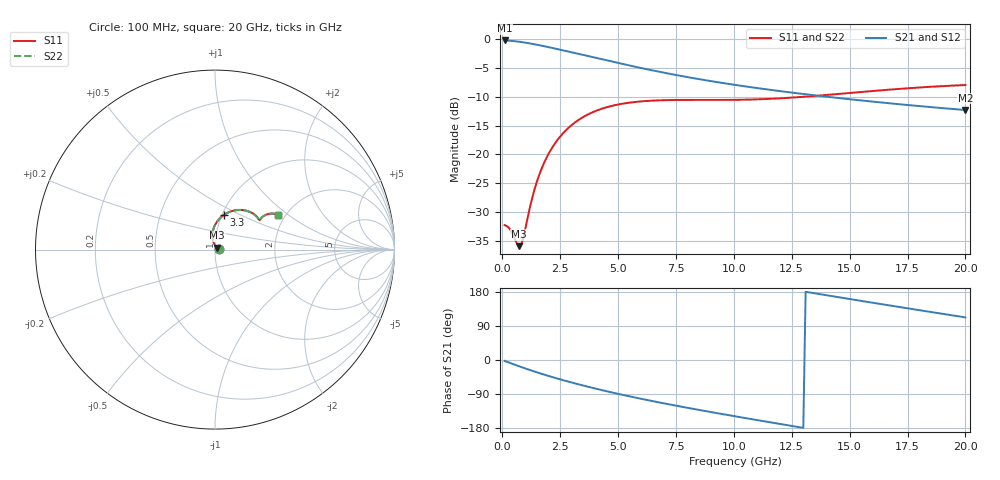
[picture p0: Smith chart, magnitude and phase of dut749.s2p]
! Touchstone file exported from HFSS 2024.1.0
!  File:  C:/UserFiles/LocalFiles/RDL_TSV_Batchsim/temp_RDL_TSV_749_1779897527.aedt
!  Generated:  12:17:47 AM May 28, 2026
!  Design:  RDL_TSV
!  Project:  temp_RDL_TSV_749_1779897527
!  Setup:  Setup1
!  Solution:  Sweep
! Variables:
!  dtsv = 13.22um
!  hbump = 3um
!  htsv = 89.63um
!  ldown = 331.86um
!  lrdl = 570.85um
!  p = 40
!  p1 = 56.65um
!  rhole = 10um
!  subl = 3278.98um
!  t = 450um
!  tdown = 2.66um
!  trdl = 2.93um
!  viad = 10um
!  wdown = 12.09um
!  wrdl = 19.97um
!  xbump = 18um
# GHz S MA R 50.000000
! Terminal data exported
! Port[1] = TM1_1_T1
! Port[2] = TM1_4_T1
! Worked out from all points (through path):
!   200 points, 100 MHz to 20 GHz, reference 50 ohm
!   highest |S21| = -0.22 dB at 100 MHz (marker M1); lowest = -12.3 dB at 20 GHz (marker M2)
!   group delay of S21, straight-line fit = 32.1 ps
!   lowest |S11| = -35.9 dB at 700 MHz (marker M3), VSWR 1.03, Z = 51.2 + j1.06 ohm
!   |S11| at or under -10 dB: start of sweep to 13.01 GHz
!   |S22| runs from -35.9 to -8.0 dB; largest |S21 - S12| = 9.8e-15
!   S11 on the Smith chart (normalised r, x): 100 MHz: 1.05, +0.00; 3.3 GHz: 1.02, +0.41; 20 GHz: 1.82, +0.84
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0.1  0.02434 2.7  0.9749 -2.4  0.9749 -2.4  0.02434 2.7
! Gamma 0 0 0 0
! Port Impedance 50 0 50 0
0.4  0.02134 11.6  0.9666 -9.3  0.9666 -9.3  0.02135 11.6
0.7  0.01598 40.5  0.952 -16.0  0.952 -16.0  0.016 40.4
0.8  0.01616 58.3  0.946 -18.2  0.946 -18.2  0.01617 58.1
0.9  0.01849 75.1  0.9396 -20.4  0.9396 -20.4  0.01848 74.9
1.2  0.03515 99.5  0.9182 -26.6  0.9182 -26.6  0.03507 99.3
1.4  0.0503 102.7  0.9026 -30.7  0.9026 -30.7  0.05017 102.6
1.6  0.06681 102.2  0.8864 -34.6  0.8864 -34.6  0.06664 102.1
1.9  0.0926 98.7  0.8613 -40.3  0.8613 -40.3  0.09235 98.6
2.5  0.1429 88.8  0.8106 -51.1  0.8106 -51.1  0.1425 88.7
3.3  0.1997 75.6  0.745 -64.3  0.745 -64.3  0.1991 75.5
3.5  0.2115 72.6  0.7292 -67.5  0.7292 -67.5  0.2108 72.5
4.2  0.2453 63.1  0.6765 -78.1  0.6765 -78.1  0.2444 63.1
5.1  0.2734 53.3  0.6152 -90.7  0.6152 -90.7  0.2725 53.3
5.9  0.2874 46.6  0.5673 -101.2  0.5673 -101.2  0.2863 46.6
6.8  0.2948 41.1  0.5205 -112.3  0.5205 -112.3  0.2935 41.0
8.3  0.297 35.6  0.4572 -129.6  0.4572 -129.6  0.2956 35.5
10.1  0.2974 33.5  0.3997 -149.1  0.3997 -149.1  0.296 33.5
11.7  0.3044 33.8  0.3605 -165.8  0.3605 -165.8  0.3031 33.9
13.4  0.3206 34.5  0.3271 176.9  0.3271 176.9  0.3193 34.6
16.7  0.3646 33.3  0.278 144.2  0.278 144.2  0.3635 33.4
20  0.4 29.0  0.2428 112.4  0.2428 112.4  0.399 29.1
